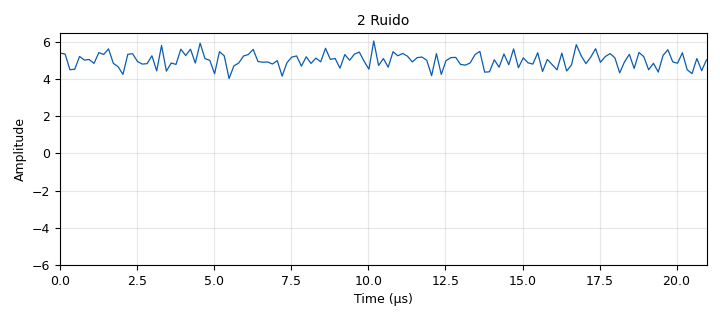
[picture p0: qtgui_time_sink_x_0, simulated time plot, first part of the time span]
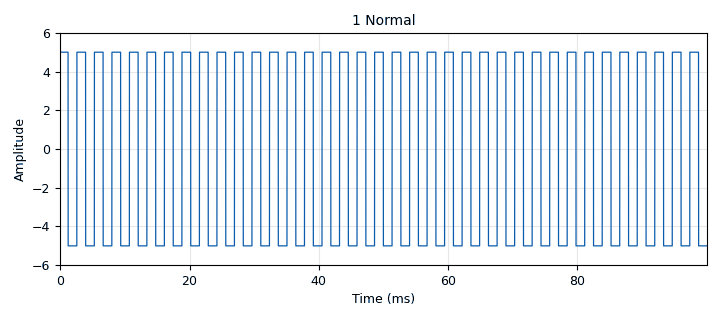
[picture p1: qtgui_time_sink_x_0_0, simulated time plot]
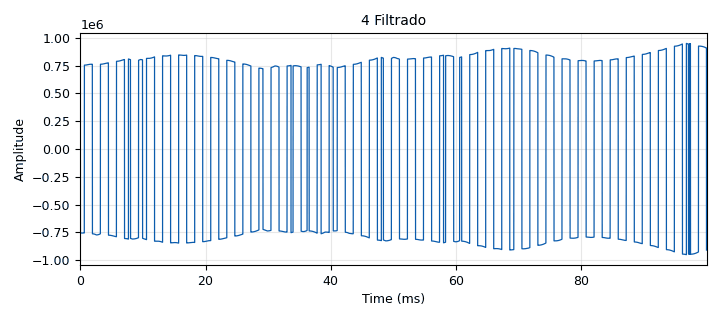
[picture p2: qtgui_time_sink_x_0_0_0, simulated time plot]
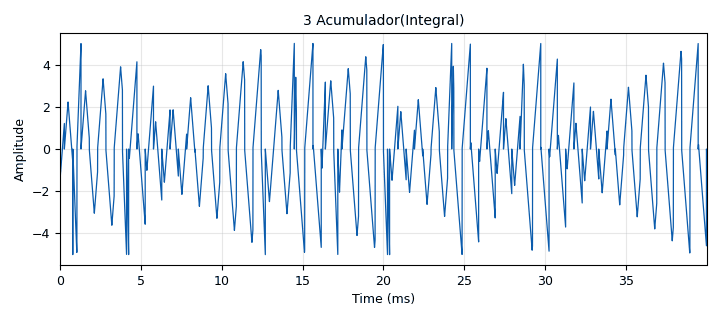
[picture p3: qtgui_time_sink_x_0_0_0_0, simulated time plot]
options:
  parameters:
    author: CARLOS_CARREÑO_JUAN_PINTO
    generate_options: qt_gui
    id: Lab_Comu_II_APLI
    output_language: python
    title: Lab_Comu_II_APLI
  states: {}

blocks:
- name: Puntos
  id: variable
  parameters:
    value: '639000'
  states: {}
- name: samp_rate
  id: variable
  parameters:
    value: '6390000'
  states: {}
- name: analog_noise_source_x_0
  id: analog_noise_source_x
  parameters:
    amp: '0.4'
    noise_type: analog.GR_GAUSSIAN
    seed: '0'
    type: float
  states: {}
- name: analog_sig_source_x_0
  id: analog_sig_source_x
  parameters:
    amp: '10'
    freq: '369'
    offset: '-5'
    phase: '1.57'
    samp_rate: samp_rate
    type: float
    waveform: analog.GR_SQR_WAVE
  states: {}
- name: blocks_add_xx_0
  id: blocks_add_xx
  parameters:
    type: float
  states: {}
- name: epy_block_0
  id: epy_block
  parameters:
    _source_code: |-
      """
      Embedded Python Blocks:

      Each time this file is saved, GRC will instantiate the first class it finds
      to get ports and parameters of your block. The arguments to __init__  will
      be the parameters. All of them are required to have default values!
      """
      import numpy as np
      from gnuradio import gr

      class blk(gr.sync_block):
          def __init__( self ): # only default arguments here
              gr.sync_block.__init__(
              self ,
              name = 'Promedios_de_tiempos', # will show up in GRC
              in_sig =[ np.float32 ],
              out_sig =[ np.float32 ,np.float32 ,np.float32 ,np.float32 ,np.float32 ]
              )
              self.acum_anterior = 0
              self.Ntotales = 0
              self.acum_anterior1 = 0
              self.acum_anterior2 = 0

          def work(self , input_items , output_items ):
              x = input_items[0] # Senial de entrada .
              y0 = output_items[0] # Promedio de la senial
              y1 = output_items[1] # Media de la senial
              y2 = output_items[2] # RMS de la senial
              y3 = output_items[3] # Potencia promedio de la senial
              y4 = output_items[4] # Desviacion estandar de la senial

              # Calculo del promedio
              N = len(x)
              self.Ntotales = self.Ntotales + N
              acumulado = self.acum_anterior + np.cumsum(x)
              self.acum_anterior = acumulado[N -1]
              y0[:]= acumulado/self.Ntotales

              # Calculo de la media cuadratica
              x2=np.multiply(x,x)
              acumulado1 = self.acum_anterior1 + np.cumsum(x2)
              self.acum_anterior1 = acumulado[N -1]
              y1[:] = acumulado1/self.Ntotales

              # Calculo de la RMS
              y2[:] = np.sqrt(y1)

              # Calculo de la potencia promedio
              y3[:] = np.multiply(y2 ,y2)

              # Calculo de la desviacion estandar
              x3 = np.multiply(x-y0 ,x-y0)
              acumulado2 = self.acum_anterior2 + np.cumsum(x3)
              self.acum_anterior2 = acumulado2[N -1]
              y4[:] = np.sqrt( acumulado2/self.Ntotales )
              return len(x)
  states: {}
- name: epy_block_0_0
  id: epy_block
  parameters:
    _source_code: |-
      """
      Embedded Python Blocks:

      Each time this file is saved, GRC will instantiate the first class it finds
      to get ports and parameters of your block. The arguments to __init__  will
      be the parameters. All of them are required to have default values!
      """
      import numpy as np
      from gnuradio import gr

      class blk(gr.sync_block):
          def __init__( self ): # only default arguments here
              gr.sync_block.__init__(
              self ,
              name = 'Promedios_de_tiempos', # will show up in GRC
              in_sig =[ np.float32 ],
              out_sig =[ np.float32 ,np.float32 ,np.float32 ,np.float32 ,np.float32 ]
              )
              self.acum_anterior = 0
              self.Ntotales = 0
              self.acum_anterior1 = 0
              self.acum_anterior2 = 0

          def work(self , input_items , output_items ):
              x = input_items[0] # Senial de entrada .
              y0 = output_items[0] # Promedio de la senial
              y1 = output_items[1] # Media de la senial
              y2 = output_items[2] # RMS de la senial
              y3 = output_items[3] # Potencia promedio de la senial
              y4 = output_items[4] # Desviacion estandar de la senial

              # Calculo del promedio
              N = len(x)
              self.Ntotales = self.Ntotales + N
              acumulado = self.acum_anterior + np.cumsum(x)
              self.acum_anterior = acumulado[N -1]
              y0[:]= acumulado/self.Ntotales

              # Calculo de la media cuadratica
              x2=np.multiply(x,x)
              acumulado1 = self.acum_anterior1 + np.cumsum(x2)
              self.acum_anterior1 = acumulado[N -1]
              y1[:] = acumulado1/self.Ntotales

              # Calculo de la RMS
              y2[:] = np.sqrt(y1)

              # Calculo de la potencia promedio
              y3[:] = np.multiply(y2 ,y2)

              # Calculo de la desviacion estandar
              x3 = np.multiply(x-y0 ,x-y0)
              acumulado2 = self.acum_anterior2 + np.cumsum(x3)
              self.acum_anterior2 = acumulado2[N -1]
              y4[:] = np.sqrt( acumulado2/self.Ntotales )
              return len(x)
  states: {}
- name: epy_block_0_0_0
  id: epy_block
  parameters:
    _source_code: |-
      """
      Embedded Python Blocks:

      Each time this file is saved, GRC will instantiate the first class it finds
      to get ports and parameters of your block. The arguments to __init__  will
      be the parameters. All of them are required to have default values!
      """
      import numpy as np
      from gnuradio import gr

      class blk(gr.sync_block):
          def __init__( self ): # only default arguments here
              gr.sync_block.__init__(
              self ,
              name = 'Promedios_de_tiempos', # will show up in GRC
              in_sig =[ np.float32 ],
              out_sig =[ np.float32 ,np.float32 ,np.float32 ,np.float32 ,np.float32 ]
              )
              self.acum_anterior = 0
              self.Ntotales = 0
              self.acum_anterior1 = 0
              self.acum_anterior2 = 0

          def work(self , input_items , output_items ):
              x = input_items[0] # Senial de entrada .
              y0 = output_items[0] # Promedio de la senial
              y1 = output_items[1] # Media de la senial
              y2 = output_items[2] # RMS de la senial
              y3 = output_items[3] # Potencia promedio de la senial
              y4 = output_items[4] # Desviacion estandar de la senial

              # Calculo del promedio
              N = len(x)
              self.Ntotales = self.Ntotales + N
              acumulado = self.acum_anterior + np.cumsum(x)
              self.acum_anterior = acumulado[N -1]
              y0[:]= acumulado/self.Ntotales

              # Calculo de la media cuadratica
              x2=np.multiply(x,x)
              acumulado1 = self.acum_anterior1 + np.cumsum(x2)
              self.acum_anterior1 = acumulado[N -1]
              y1[:] = acumulado1/self.Ntotales

              # Calculo de la RMS
              y2[:] = np.sqrt(y1)

              # Calculo de la potencia promedio
              y3[:] = np.multiply(y2 ,y2)

              # Calculo de la desviacion estandar
              x3 = np.multiply(x-y0 ,x-y0)
              acumulado2 = self.acum_anterior2 + np.cumsum(x3)
              self.acum_anterior2 = acumulado2[N -1]
              y4[:] = np.sqrt( acumulado2/self.Ntotales )
              return len(x)
  states: {}
- name: epy_block_0_1
  id: epy_block
  parameters:
    _source_code: |-
      """
      Embedded Python Blocks:

      Each time this file is saved, GRC will instantiate the first class it finds
      to get ports and parameters of your block. The arguments to __init__  will
      be the parameters. All of them are required to have default values!
      """

      import numpy as np
      from gnuradio import gr

      class blk(gr.sync_block ):
          def __init__ ( self ) : # only default arguments here
              gr.sync_block.__init__ (
              self ,
              name ="e_Acum", # will show up in GRC
              in_sig =[ np.float32 ],
              out_sig =[ np.float32 ]
          )
          def work(self, input_items, output_items):
              x = input_items[0]  # Senal de entrada
              y0 = output_items[0]  # Senal acumulada
              acumulado = np.cumsum(x)/len(x)

              y0[:] = acumulado
              return len(y0)
    comment: Acumulador
  states: {}
- name: epy_block_0_2
  id: epy_block
  parameters:
    _source_code: |-
      """
      Embedded Python Blocks:

      Each time this file is saved, GRC will instantiate the first class it finds
      to get ports and parameters of your block. The arguments to __init__  will
      be the parameters. All of them are required to have default values!
      """

      import numpy as np
      from gnuradio import gr

      class blk(gr.sync_block ):
          def __init__ ( self ) : # only default arguments here
              gr.sync_block.__init__ (
              self ,
              name ="e_Acum2", # will show up in GRC
              in_sig =[ np.float32 ],
              out_sig =[ np.float32 ])
              self.acumulado_anterior = 0  # Para almacenar el valor acumulado hasta el momento

          def work(self, input_items, output_items):
              x = input_items[0]  # Senal de entrada
              y = output_items[0]  # Senal acumulada
              N = len(x)

              # Calcular el acumulado, continuando desde el valor acumulado anterior
              y[:] = (np.cumsum(x) + self.acumulado_anterior)
              max = np.max(np.abs(y))
              y[:] = y/max
              # Guardar el valor acumulado para el siguiente bloque
              self.acumulado_anterior = y[-1]  # El ultimo valor acumulado se guarda

              return len(y)
      #    def work (self , input_items , output_items ):
      #        x = input_items[0] # Senial de entrada .
      #        y0 = output_items[0] # Senial acumulada
      #        y0[:] = np.cumsum(x)
              #y0 [:] = len(y0)
      #        return len(y0)
    comment: Acumulador
  states: {state: disabled}
- name: epy_block_1
  id: epy_block
  parameters:
    _source_code: |
      """
      Embedded Python Blocks:

      Each time this file is saved, GRC will instantiate the first class it finds
      to get ports and parameters of your block. The arguments to __init__  will
      be the parameters. All of them are required to have default values!
      """

      import numpy as np
      from gnuradio import gr
      class blk (gr. sync_block ):
      	def __init__ ( self ) : # only default arguments here
      		gr. sync_block . __init__ (
      			self ,
      			name ="e_Diff" , # will show up in GRC
      			in_sig =[ np. float32 ],
      			out_sig =[ np. float32 ]
      		)
      		self . acum_anterior = 0
      			
      	def work (self , input_items , output_items ):
      		x = input_items [0] # Senial de entrada .
      		y0 = output_items [0] # Senial acumulada diferencial
      		N = len (x)
      		diff = (np.cumsum (x) - self . acum_anterior)
      		self . acum_anterior = diff [N-1]
      		y0 [:] = diff
      		return len(y0)
    comment: Diferenciador
  states: {}
- name: epy_block_1_1
  id: epy_block
  parameters:
    _source_code: |
      """
      Embedded Python Blocks:

      Each time this file is saved, GRC will instantiate the first class it finds
      to get ports and parameters of your block. The arguments to __init__  will
      be the parameters. All of them are required to have default values!
      """
      import numpy as np
      from gnuradio import gr
      class blk(gr.sync_block ):
      	def __init__( self ) : # only default arguments here
      		gr.sync_block.__init__ (
      			self ,
      			name ="e_Diff2" , # will show up in GRC
      			in_sig =[ np.float32 ],
      			out_sig =[ np.float32 ]
      		)
      		self.anterior = 0
      	def work(self , input_items , output_items ):
      		x = input_items[0]  # Senal de entrada
      		y = output_items[0]  # Senal diferenciada
      		N = len(x)

              # Calcular la diferencia entre valores consecutivos
      		y[0] = x[0] - self.anterior  # Diferencia con el valor anterior
      		y[1:] = np.diff(x)  # Diferencia entre valores consecutivos de la senal

              # Actualizar el valor anterior para el siguiente bloque de procesamiento
      		self.anterior = x[-1]
      		
      		return len(y)
    comment: Diferenciador
  states: {state: disabled}
- name: qtgui_number_sink_0
  id: qtgui_number_sink
  parameters:
    autoscale: 'True'
    color1: ("black", "red")
    graph_type: qtgui.NUM_GRAPH_HORIZ
    label1: '"Promedio"'
    label2: '"Media"'
    label3: '"Rms"'
    label4: '"Potencia"'
    label5: '"Desviacion"'
    name: '"Señal Original"'
    nconnections: '5'
    type: float
  states: {}
- name: qtgui_number_sink_0_1
  id: qtgui_number_sink
  parameters:
    autoscale: 'True'
    color1: ("black", "red")
    graph_type: qtgui.NUM_GRAPH_HORIZ
    label1: '"Promedio"'
    label2: '"Media"'
    label3: '"Rms"'
    label4: '"Potencia"'
    label5: '"Desviacion"'
    name: '" Señal Filtada"'
    nconnections: '5'
    type: float
  states: {}
- name: qtgui_number_sink_0_1_0
  id: qtgui_number_sink
  parameters:
    autoscale: 'True'
    color1: ("black", "red")
    graph_type: qtgui.NUM_GRAPH_HORIZ
    label1: '"Promedio"'
    label2: '"Media"'
    label3: '"Rms"'
    label4: '"Potencia"'
    label5: '"Desviacion"'
    name: '" Señal Sin Ruido"'
    nconnections: '5'
    type: float
  states: {}
- name: qtgui_time_sink_x_0
  id: qtgui_time_sink_x
  parameters:
    label1: Signal 2
    name: '"2 Ruido"'
    size: Puntos
    srate: samp_rate
    type: float
    update_time: '0.5'
    ymax: '6'
    ymin: '-6'
  states: {}
- name: qtgui_time_sink_x_0_0
  id: qtgui_time_sink_x
  parameters:
    entags: 'False'
    name: '"1 Normal"'
    size: Puntos
    srate: samp_rate
    type: float
    update_time: '0.5'
    ymax: '6'
    ymin: '-6'
  states: {}
- name: qtgui_time_sink_x_0_0_0
  id: qtgui_time_sink_x
  parameters:
    autoscale: 'True'
    label1: Signal 4
    name: '"4 Filtrado"'
    size: Puntos
    srate: samp_rate
    type: float
    update_time: '0.5'
    ymax: '4'
    ymin: '-4'
  states: {}
- name: qtgui_time_sink_x_0_0_0_0
  id: qtgui_time_sink_x
  parameters:
    autoscale: 'True'
    entags: 'False'
    label1: Signal 3
    name: '"3 Acumulador(Integral)"'
    size: Puntos
    srate: samp_rate*2.5
    type: float
    update_time: '0.5'
    ymax: '0.01'
    ymin: '-0.01'
  states: {}

connections:
- [analog_noise_source_x_0, '0', blocks_add_xx_0, '1']
- [analog_sig_source_x_0, '0', blocks_add_xx_0, '0']
- [analog_sig_source_x_0, '0', epy_block_0_0_0, '0']
- [analog_sig_source_x_0, '0', qtgui_time_sink_x_0_0, '0']
- [blocks_add_xx_0, '0', epy_block_0, '0']
- [blocks_add_xx_0, '0', epy_block_0_1, '0']
- [blocks_add_xx_0, '0', epy_block_0_2, '0']
- [blocks_add_xx_0, '0', qtgui_time_sink_x_0, '0']
- [epy_block_0, '0', qtgui_number_sink_0, '0']
- [epy_block_0, '1', qtgui_number_sink_0, '1']
- [epy_block_0, '2', qtgui_number_sink_0, '2']
- [epy_block_0, '3', qtgui_number_sink_0, '3']
- [epy_block_0, '4', qtgui_number_sink_0, '4']
- [epy_block_0_0, '0', qtgui_number_sink_0_1, '0']
- [epy_block_0_0, '1', qtgui_number_sink_0_1, '1']
- [epy_block_0_0, '2', qtgui_number_sink_0_1, '2']
- [epy_block_0_0, '3', qtgui_number_sink_0_1, '3']
- [epy_block_0_0, '4', qtgui_number_sink_0_1, '4']
- [epy_block_0_0_0, '0', qtgui_number_sink_0_1_0, '0']
- [epy_block_0_0_0, '1', qtgui_number_sink_0_1_0, '1']
- [epy_block_0_0_0, '2', qtgui_number_sink_0_1_0, '2']
- [epy_block_0_0_0, '3', qtgui_number_sink_0_1_0, '3']
- [epy_block_0_0_0, '4', qtgui_number_sink_0_1_0, '4']
- [epy_block_0_1, '0', epy_block_1, '0']
- [epy_block_0_1, '0', qtgui_time_sink_x_0_0_0_0, '0']
- [epy_block_0_2, '0', epy_block_1, '0']
- [epy_block_0_2, '0', epy_block_1_1, '0']
- [epy_block_0_2, '0', qtgui_time_sink_x_0_0_0_0, '0']
- [epy_block_1, '0', epy_block_0_0, '0']
- [epy_block_1, '0', qtgui_time_sink_x_0_0_0, '0']
- [epy_block_1_1, '0', epy_block_0_0, '0']
- [epy_block_1_1, '0', qtgui_time_sink_x_0_0_0, '0']

metadata:
  file_format: 1
  grc_version: 3.10.9.2
